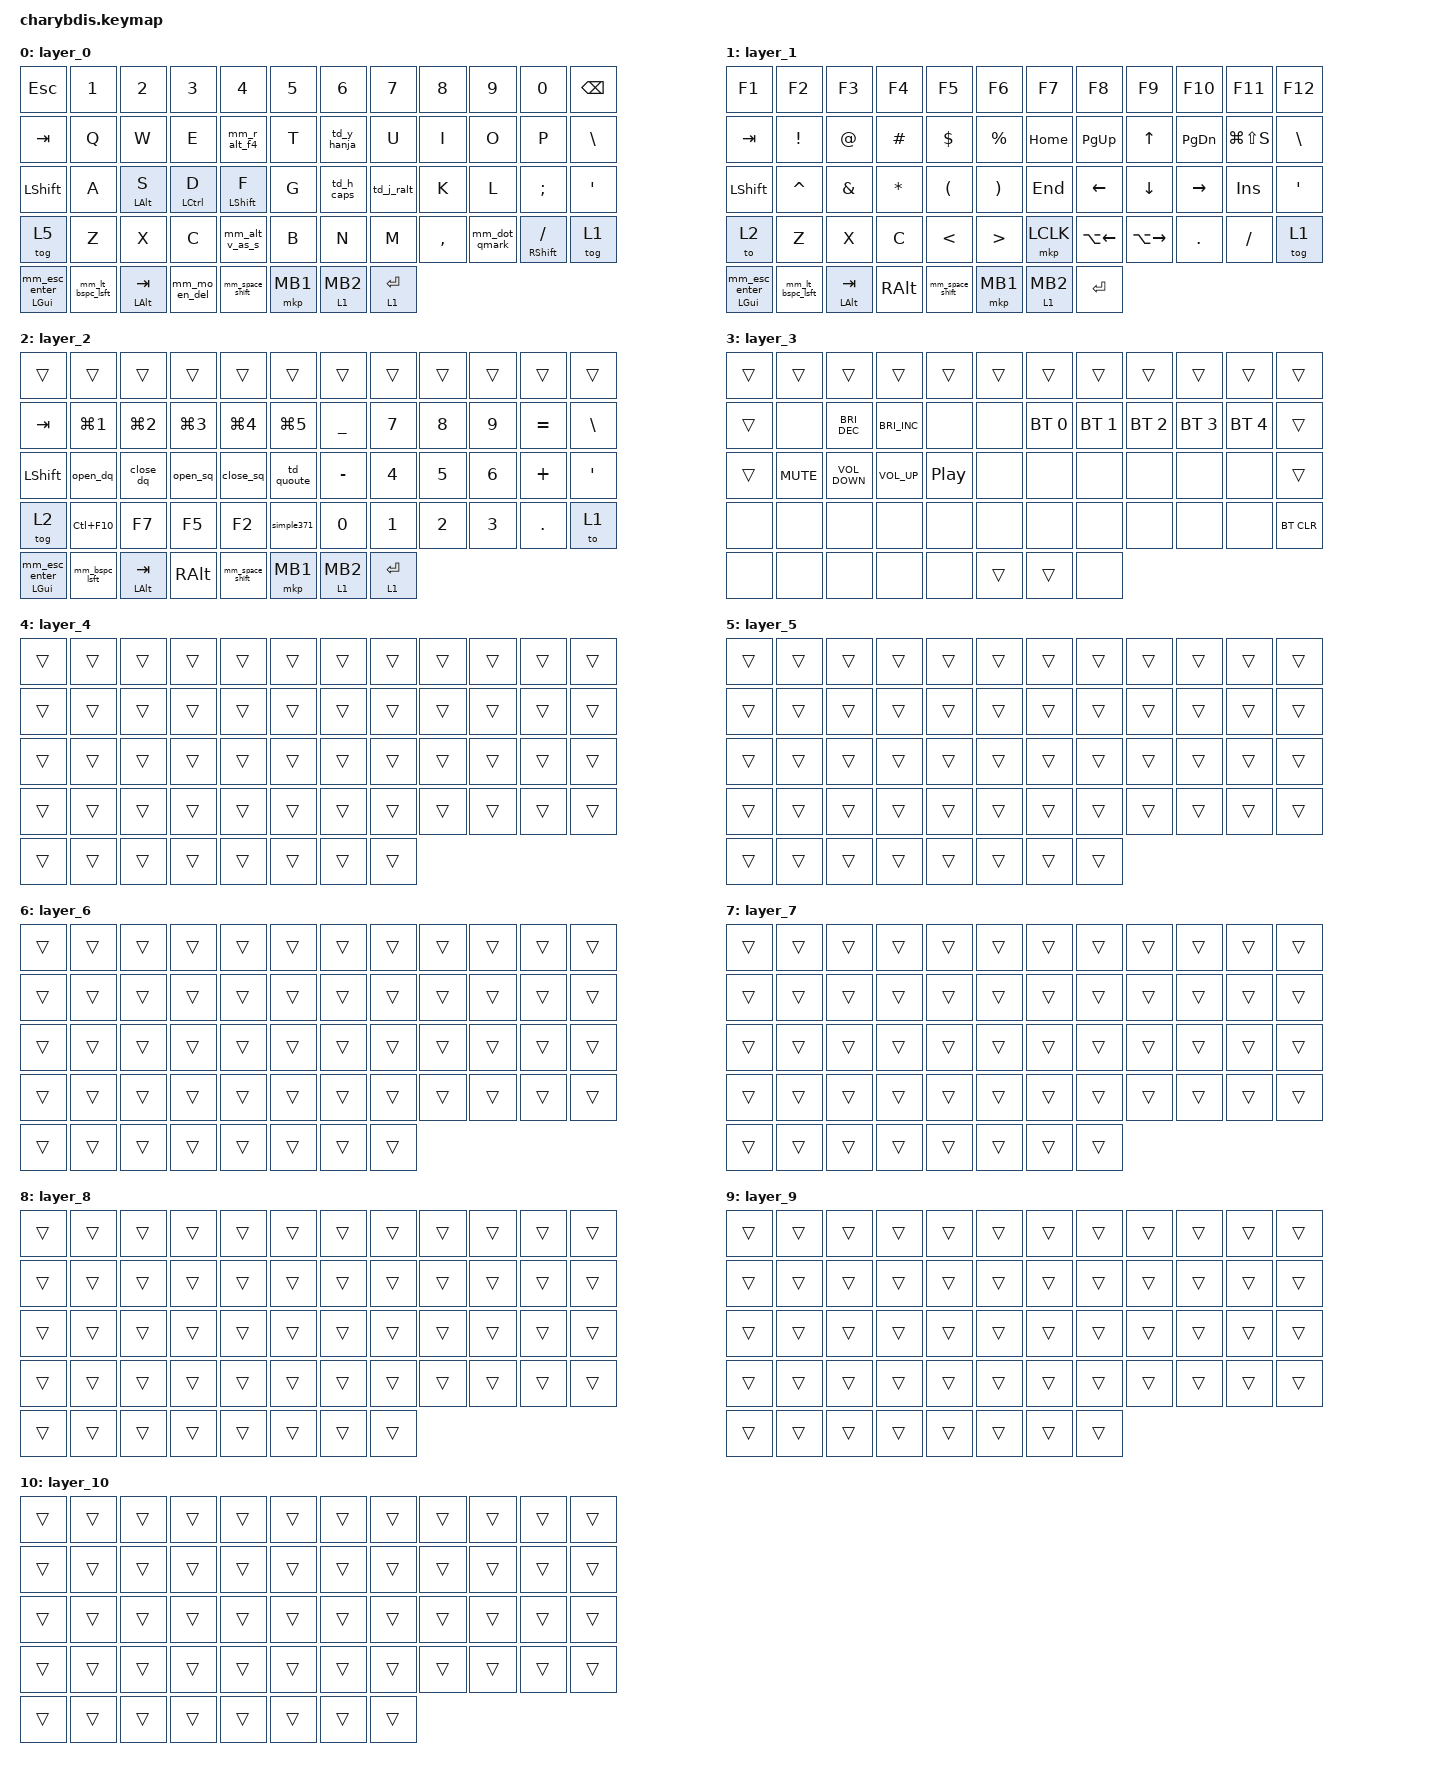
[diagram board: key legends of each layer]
#include <dt-bindings/zmk/mouse.h>
#include <input/processors.dtsi>
#include <zephyr/dt-bindings/input/input-event-codes.h>
#include <behaviors.dtsi>
#include <dt-bindings/zmk/bt.h>
#include <dt-bindings/zmk/keys.h>
#include <dt-bindings/zmk/pointing.h>
#include <dt-bindings/zmk/rgb.h>

#define ZMK_POINTING_DEFAULT_MOVE_VAL 1000 // 600
#define ZMK_POINTING_DEFAULT_SCRL_VAL 12   // 10

&lt {
    tapping-term-ms = <200>;
    flavor = "balanced";
    quick-tap-ms = <150>;
};

&mmv_input_listener { input-processors = <&zip_xy_scaler 2 1>; };

&msc_input_listener { input-processors = <&zip_scroll_scaler 2 1>; };

&msc {
    acceleration-exponent = <0>;      // 0
    time-to-max-speed-ms = <100>;       // 300
    delay-ms = <0>;                   // 0
};

&mmv {
    time-to-max-speed-ms = <500>;
    acceleration-exponent = <1>;
    trigger-period-ms = <16>;
};

/ {
    // 上下滚动编码器行为

    scroll_vertical_encoder: scroll_vertical_encoder {
        compatible = "zmk,behavior-sensor-rotate";
        #sensor-binding-cells = <0>;
        bindings = <&msc SCRL_DOWN>, <&msc SCRL_UP>;

        tap-ms = <100>;
    };

    // 左右滚动编码器行为

    scroll_horizontal_encoder: scroll_horizontal_encoder {
        compatible = "zmk,behavior-sensor-rotate";
        #sensor-binding-cells = <0>;
        bindings = <&msc SCRL_LEFT>, <&msc SCRL_RIGHT>;

        tap-ms = <100>;
    };

    behaviors {
    };

    macros {
        simple371: simple371 {
            compatible = "zmk,behavior-macro";
            #binding-cells = <0>;
            bindings = <&kp S &kp I &kp M &kp P &kp L &kp E &kp N3 &kp N7 &kp N1>;
        };

        open_dq: open_dq {
            compatible = "zmk,behavior-macro";
            #binding-cells = <0>;
            wait-ms = <20>;
            tap-ms = <20>;
            bindings =
                <&macro_tap>, <&kp KP_NUM>,
                <&macro_press>, <&kp LALT>,
                <&macro_tap>, <&kp KP_N0 &kp KP_N1 &kp KP_N4 &kp KP_N7>,
                <&macro_release>, <&kp LALT>,
                <&macro_tap>, <&kp KP_NUM>;
        };

        close_dq: close_dq {
            compatible = "zmk,behavior-macro";
            #binding-cells = <0>;
            wait-ms = <20>;
            tap-ms = <20>;
            bindings =
                <&macro_tap>, <&kp KP_NUM>,
                <&macro_press>, <&kp LALT>,
                <&macro_tap>, <&kp KP_N0 &kp KP_N1 &kp KP_N4 &kp KP_N8>,
                <&macro_release>, <&kp LALT>,
                <&macro_tap>, <&kp KP_NUM>;
        };

        open_sq: open_sq {
            compatible = "zmk,behavior-macro";
            #binding-cells = <0>;
            wait-ms = <20>;
            tap-ms = <20>;
            bindings =
                <&macro_tap>, <&kp KP_NUM>,
                <&macro_press>, <&kp LALT>,
                <&macro_tap>, <&kp KP_N0 &kp KP_N1 &kp KP_N4 &kp KP_N5>,
                <&macro_release>, <&kp LALT>,
                <&macro_tap>, <&kp KP_NUM>;
        };

        close_sq: close_sq {
            compatible = "zmk,behavior-macro";
            #binding-cells = <0>;
            wait-ms = <20>;
            tap-ms = <20>;
            bindings =
                <&macro_tap>, <&kp KP_NUM>,
                <&macro_press>, <&kp LALT>,
                <&macro_tap>, <&kp KP_N0 &kp KP_N1 &kp KP_N4 &kp KP_N6>,
                <&macro_release &kp LALT>,
                <&macro_tap &kp KP_NUM>;
        };

        mo_en: mo_en {
            compatible = "zmk,behavior-macro";
            #binding-cells = <0>;
            bindings
                = <&macro_tap &kp RALT>
                , <&macro_pause_for_release>
                , <&macro_tap &kp RALT>;
        };
    };

    behaviors {
        hm: homerow_mods {
            compatible = "zmk,behavior-hold-tap";
            #binding-cells = <2>;
            tapping-term-ms = <185>;
            quick-tap-ms = <0>;
            flavor = "tap-preferred";
            require-prior-idle-ms = <185>;
            bindings = <&kp>, <&kp>;
        };

        hs: homerow_shift {
            compatible = "zmk,behavior-hold-tap";
            #binding-cells = <2>;
            tapping-term-ms = <170>;
            quick-tap-ms = <80>;
            flavor = "hold-preferred";
            require-prior-idle-ms = <0>;
            bindings = <&kp>, <&kp>;
        };

        mm_space_ralt: mod_morph_space_ralt {
            compatible = "zmk,behavior-mod-morph";
            #binding-cells = <0>;
            bindings = <&kp SPACE>, <&kp DEL>;
            mods = <(MOD_RSFT)>;
        };

        mm_r_alt_f4: mod_morph_r_alt_f4 {
            compatible = "zmk,behavior-mod-morph";
            #binding-cells = <0>;
            bindings = <&kp R>, <&kp LA(F4)>;
            mods = <(MOD_LALT)>;
        };

        mm_dot_qmark: mod_morph_dot_qmark {
            compatible = "zmk,behavior-mod-morph";
            #binding-cells = <0>;
            bindings = <&kp DOT>, <&kp FSLH>;
            mods = <(MOD_RSFT)>;
            keep-mods = <(MOD_RSFT)>;
        };

        mm_esc_enter: mod_morph_esc_enter {
            compatible = "zmk,behavior-mod-morph";
            #binding-cells = <0>;
            bindings = <&kp ESC>, <&kp ENTER>;
            mods = <(MOD_LSFT)>;
        };

        mt_lgui_esc: mt_lgui_esc {
            compatible = "zmk,behavior-hold-tap";
            #binding-cells = <2>;
            tapping-term-ms = <200>;
            quick-tap-ms = <0>;
            flavor = "tap-preferred";
            bindings = <&kp>, <&mm_esc_enter>;
        };

        mm_bspc_lsft: mod_morph_bspc_lsft {
            compatible = "zmk,behavior-mod-morph";
            #binding-cells = <0>;
            bindings = <&kp BSPC>, <&kp BSPC>;
            mods = <(MOD_LSFT)>;
        };

        mm_enter_alttab: mod_morph_enter_alttab {
            compatible = "zmk,behavior-mod-morph";
            #binding-cells = <0>;
            bindings = <&mm_bspc_lsft>, <&kp TAB>;
            mods = <(MOD_LALT|MOD_RALT)>;
            keep-mods = <(MOD_LALT|MOD_RALT)>;
        };

        lt_mm: lt_mod_morph {
            compatible = "zmk,behavior-hold-tap";
            #binding-cells = <2>;
            tapping-term-ms = <170>;
            quick-tap-ms = <0>;
            flavor = "tap-preferred";
            bindings = <&mo>, <&mm_enter_alttab>;
        };

        td_h_caps: tap_dance_h_caps {
            compatible = "zmk,behavior-tap-dance";
            #binding-cells = <0>;
            tapping-term-ms = <210>;
            bindings = <&kp H>, <&kp CAPS>;
        };

        td_j_ralt: tap_dance_j_ralt {
            compatible = "zmk,behavior-tap-dance";
            #binding-cells = <0>;
            tapping-term-ms = <210>;
            bindings = <&kp J>, <&kp RALT>;
        };


        td_y_hanja: td_y_hanja {
            compatible = "zmk,behavior-tap-dance";
            #binding-cells = <0>;
            tapping-term-ms = <210>;
            bindings = <&kp Y>, <&kp LANG_HANJA>;
        };



        td_quoute: td_quoute {
            compatible = "zmk,behavior-tap-dance";
            #binding-cells = <0>;
            tapping-term-ms = <210>;
            bindings = <&kp SINGLE_QUOTE>, <&kp DOUBLE_QUOTES>;
        };

        mm_space_shift: mod_morph_space_shift {
            compatible = "zmk,behavior-mod-morph";
            #binding-cells = <0>;
            bindings = <&mm_space_ralt>, <&kp DEL>;
            mods = <(MOD_RSFT)>;
        };

        hold_mo_en: hold_mo_en {
            compatible = "zmk,behavior-hold-tap";
            #binding-cells = <2>;
            flavor = "hold-preferred";
            hold-while-undecided;
            tapping-term-ms = <0>;
            bindings = <&mo_en>, <&none>;
        };

        mm_mo_en_del: mod_morph_mo_en_del {
            compatible = "zmk,behavior-mod-morph";
            #binding-cells = <0>;
            bindings = <&hold_mo_en 0 0>, <&kp DEL>;
            mods = <(MOD_RSFT)>;
        };

        mm_lt_bspc_lsft: mm_lt_bspc_lsft {
            compatible = "zmk,behavior-mod-morph";
            #binding-cells = <0>;
            bindings = <&lt_mm 2 0>, <&mm_bspc_lsft>;
            mods = <(MOD_LSFT)>;
        };

        mm_alt_v_as_s: mm_alt_v_as_s {
            compatible = "zmk,behavior-mod-morph";
            #binding-cells = <0>;
            bindings = <&kp V>, <&kp S>;
            mods = <(MOD_LALT)>;
            keep-mods = <(MOD_LALT)>;
        };

        lth_kp: layer_tap_hold_kp {
            compatible = "zmk,behavior-hold-tap";
            #binding-cells = <2>;
            flavor = "hold-preferred";
            hold-while-undecided;
            tapping-term-ms = <200>;
            bindings = <&mo>, <&kp>;
        };

        tbl_lth: trackball_layer_tap_hold {
            compatible = "zmk,behavior-hold-tap";
            #binding-cells = <2>;
            flavor = "hold-preferred";
            hold-while-undecided;
            tapping-term-ms = <160>;
            bindings = <&mo>, <&mkp>;
        };

        thumb_rclk_scroll: thumb_rclk_scroll {
            compatible = "zmk,behavior-hold-tap";
            #binding-cells = <2>;
            flavor = "hold-preferred";
            hold-while-undecided;
            tapping-term-ms = <160>;
            bindings = <&mo>, <&mkp>;
        };

        tbl_rclk: tbl_rclk {
            compatible = "zmk,behavior-tap-dance";
            #binding-cells = <0>;
            tapping-term-ms = <250>;
            bindings = <&mkp RCLK>, <&tog 7>;
        };
    };

    combos {
        compatible = "zmk,combos";

        combo_uo_haneng {
            timeout-ms = <75>;
            key-positions = <19 21>;
            bindings = <&kp RALT>;
        };

        combo_mcomma_excl {
            timeout-ms = <75>;
            key-positions = <43 44>;
            bindings = <&kp EXCL>;
        };

        combo_commadot_qmark {
            timeout-ms = <75>;
            key-positions = <44 45>;
            bindings = <&kp QMARK>;
        };

        combo_cv_paste {
            timeout-ms = <75>;
            key-positions = <39 40>;
            bindings = <&kp LC(V)>;
        };

        combo_xc_copy {
            timeout-ms = <75>;
            key-positions = <38 39>;
            bindings = <&kp LC(C)>;
        };

        combo_zx_cut {
            timeout-ms = <100>;
            key-positions = <37 38>;
            bindings = <&kp LC(X)>;
        };

        combo_xv_enter {
            timeout-ms = <75>;
            key-positions = <38 40>;
            bindings = <&kp ENTER>;
        };

        combo_nm_tilde {
            timeout-ms = <75>;
            key-positions = <42 43>;
            bindings = <&kp TILDE>;
        };

        combo_mdot_del {
            timeout-ms = <75>;
            key-positions = <43 45>;
            bindings = <&kp DEL>;
        };

        combo_wr_ralt {
            timeout-ms = <75>;
            key-positions = <14 16>;
            bindings = <&kp RALT>;
        };

        combo_we_back {
            timeout-ms = <75>;
            key-positions = <14 15>;
            bindings = <&kp LA(LEFT)>;
        };

        combo_er_forward {
            timeout-ms = <75>;
            key-positions = <15 16>;
            bindings = <&kp LA(RIGHT)>;
        };

    };

    keymap {
        compatible = "zmk,keymap";

        layer_0 {
            bindings = <
&kp ESC &kp N1 &kp N2 &kp N3 &kp N4 &kp N5 &kp N6 &kp N7 &kp N8 &kp N9 &kp N0 &kp BACKSPACE
&kp TAB &kp Q &kp W &kp E &mm_r_alt_f4 &kp T &td_y_hanja &kp U &kp I &kp O &kp P &kp BSLH
&kp LEFT_SHIFT &kp A &hm LALT S &hm LCTRL D &hm LSHIFT F &kp G &td_h_caps &td_j_ralt &kp K &kp L &kp SEMI &kp SQT
&tog 5 &kp Z &kp X &kp C &mm_alt_v_as_s &kp B &kp N &kp M &kp COMMA &mm_dot_qmark &hs RSHIFT FSLH &tog 1
&mt_lgui_esc LGUI 0 &mm_lt_bspc_lsft &mt LALT TAB &mm_mo_en_del &mm_space_shift &mkp MB1 &thumb_rclk_scroll 1 MB2 &lt 1 ENTER
            >;
        };

        layer_1 {
            bindings = <
&kp F1 &kp F2 &kp F3 &kp F4 &kp F5 &kp F6 &kp F7 &kp F8 &kp F9 &kp F10 &kp F11 &kp F12
&kp TAB &kp EXCL &kp AT &kp HASH &kp DLLR &kp PRCNT &kp HOME &kp PG_UP &kp UP &kp PG_DN &kp LG(LS(S)) &kp BSLH
&kp LEFT_SHIFT &kp CARET &kp AMPS &kp STAR &kp LPAR &kp RPAR &kp END &kp LEFT &kp DOWN &kp RIGHT &kp INS &kp SQT
&to 2 &kp Z &kp X &kp C &kp LESS_THAN &kp GREATER_THAN &mkp LCLK &kp LA(LEFT) &kp LA(RIGHT) &kp DOT &kp FSLH &tog 1
&mt_lgui_esc LGUI 0 &mm_lt_bspc_lsft &mt LALT TAB &kp RALT &mm_space_shift &mkp MB1 &thumb_rclk_scroll 1 MB2 &kp ENTER
            >;
        };

        layer_2 {
            bindings = <
&trans &trans &trans &trans &trans &trans &trans &trans &trans &trans &trans &trans
&kp TAB &kp LG(N1) &kp LG(N2) &kp LG(N3) &kp LG(N4) &kp LG(N5) &kp UNDER &kp N7 &kp N8 &kp N9 &kp EQUAL &kp BSLH
&kp LEFT_SHIFT &open_dq &close_dq &open_sq &close_sq &td_quoute &kp MINUS &kp N4 &kp N5 &kp N6 &kp PLUS &kp SQT
&tog 2 &kp LC(F10) &kp F7 &kp F5 &kp F2 &simple371 &kp N0 &kp N1 &kp N2 &kp N3 &kp DOT &to 1
&mt_lgui_esc LGUI 0 &mm_bspc_lsft &mt LALT TAB &kp RALT &mm_space_shift &mkp MB1 &thumb_rclk_scroll 1 MB2 &lt 1 ENTER
            >;
        };

        layer_3 {
            bindings = <
&trans &trans &trans &trans &trans &trans &trans &trans &trans &trans &trans &trans
&trans &none &kp C_BRIGHTNESS_DEC &kp C_BRIGHTNESS_INC &none &none &bt BT_SEL 0 &bt BT_SEL 1 &bt BT_SEL 2 &bt BT_SEL 3 &bt BT_SEL 4 &trans
&trans &kp K_MUTE &kp C_VOLUME_DOWN &kp C_VOLUME_UP &kp C_PLAY_PAUSE &none &none &none &none &none &none &trans
&none &none &none &none &none &none &none &none &none &none &none &bt BT_CLR
&none &none &none &none &none &trans &trans &none
            >;
        };

        layer_4 {
            bindings = <
&trans &trans &trans &trans &trans &trans &trans &trans &trans &trans &trans &trans
&trans &trans &trans &trans &trans &trans &trans &trans &trans &trans &trans &trans
&trans &trans &trans &trans &trans &trans &trans &trans &trans &trans &trans &trans
&trans &trans &trans &trans &trans &trans &trans &trans &trans &trans &trans &trans
&trans &trans &trans &trans &trans &trans &trans &trans
            >;
        };

        layer_5 {
            bindings = <
&trans &trans &trans &trans &trans &trans &trans &trans &trans &trans &trans &trans
&trans &trans &trans &trans &trans &trans &trans &trans &trans &trans &trans &trans
&trans &trans &trans &trans &trans &trans &trans &trans &trans &trans &trans &trans
&trans &trans &trans &trans &trans &trans &trans &trans &trans &trans &trans &trans
&trans &trans &trans &trans &trans &trans &trans &trans
            >;
        };

        layer_6 {
            bindings = <
&trans &trans &trans &trans &trans &trans &trans &trans &trans &trans &trans &trans
&trans &trans &trans &trans &trans &trans &trans &trans &trans &trans &trans &trans
&trans &trans &trans &trans &trans &trans &trans &trans &trans &trans &trans &trans
&trans &trans &trans &trans &trans &trans &trans &trans &trans &trans &trans &trans
&trans &trans &trans &trans &trans &trans &trans &trans
            >;
        };

        layer_7 {
            bindings = <
&trans &trans &trans &trans &trans &trans &trans &trans &trans &trans &trans &trans
&trans &trans &trans &trans &trans &trans &trans &trans &trans &trans &trans &trans
&trans &trans &trans &trans &trans &trans &trans &trans &trans &trans &trans &trans
&trans &trans &trans &trans &trans &trans &trans &trans &trans &trans &trans &trans
&trans &trans &trans &trans &trans &trans &trans &trans
            >;
        };

        layer_8 {
            bindings = <
&trans &trans &trans &trans &trans &trans &trans &trans &trans &trans &trans &trans
&trans &trans &trans &trans &trans &trans &trans &trans &trans &trans &trans &trans
&trans &trans &trans &trans &trans &trans &trans &trans &trans &trans &trans &trans
&trans &trans &trans &trans &trans &trans &trans &trans &trans &trans &trans &trans
&trans &trans &trans &trans &trans &trans &trans &trans
            >;
        };

        layer_9 {
            bindings = <
&trans &trans &trans &trans &trans &trans &trans &trans &trans &trans &trans &trans
&trans &trans &trans &trans &trans &trans &trans &trans &trans &trans &trans &trans
&trans &trans &trans &trans &trans &trans &trans &trans &trans &trans &trans &trans
&trans &trans &trans &trans &trans &trans &trans &trans &trans &trans &trans &trans
&trans &trans &trans &trans &trans &trans &trans &trans
            >;
        };

        layer_10 {
            bindings = <
&trans  &trans  &trans  &trans  &trans  &trans    &trans  &trans  &trans  &trans  &trans  &trans
&trans  &trans  &trans  &trans  &trans  &trans    &trans  &trans  &trans  &trans  &trans  &trans
&trans  &trans  &trans  &trans  &trans  &trans    &trans  &trans  &trans  &trans  &trans  &trans
&trans  &trans  &trans  &trans  &trans  &trans    &trans  &trans  &trans  &trans  &trans  &trans
                        &trans  &trans  &trans    &trans  &trans
                                &trans  &trans    &trans
            >;
        };

        /* layer_2 {
            bindings = <
&none  &none   &none    &none   &none         &none         &kp N1         &none         &none     &none  &none   &to 0
&none  &none   &none    &none   &none         &none         &none         &none          &rgb_ug RGB_BRD &rgb_ug RGB_BRI  &rgb_ug RGB_EFF   &rgb_ug RGB_TOG
&none  &none   &none    &none   &none         &none         &none         &mkp LCLK     &mkp RCLK  &none  &none   &none
&none  &none   &none    &none   &bt BT_NXT  &bt BT_CLR    &none         &none         &none     &none  &none   &none
                                   &none         &none         &none         &none         &none
                                                 &none         &none         &none
            >;
       
            
        };

       Mouse {
            bindings = <
&none        &none         &none         &none         &none      &none         &none       &none      &none         &none         &none         &none
&none        &bt BT_SEL 0  &bt BT_SEL 1  &bt BT_SEL 3  &none      &bt BT_CLR    &bt BT_CLR  &none      &bt BT_SEL 2  &bt BT_SEL 1  &bt BT_SEL 0  &none
&none        &trans        &trans        &mkp MCLK     &trans     &none         &none       &trans     &mkp MCLK     &trans        &trans        &none
&bootloader  &trans        &mkp RCLK     &mo 4         &mkp LCLK  &mo 5         &mo 5       &mkp LCLK  &mo 4         &mkp RCLK     &trans        &bootloader
                                         &mo 5         &mkp LCLK  &mkp RCLK     &mkp RCLK   &mkp LCLK
                                                       &none      &trans        &trans
            >;

            
        };

        layer_4 {
            bindings = <
&trans  &trans  &trans     &trans     &trans     &trans       &trans     &trans     &trans     &trans     &trans  &trans
&trans  &trans  &trans     &trans     &trans     &trans       &trans     &trans     &trans     &trans     &trans  &trans
&trans  &trans  &trans     &mkp MCLK  &trans     &trans       &trans     &trans     &mkp MCLK  &trans     &trans  &trans
&trans  &trans  &mkp RCLK  &trans     &mkp LCLK  &trans       &trans     &mkp LCLK  &trans     &mkp RCLK  &trans  &trans
                           &trans     &mkp LCLK  &mkp RCLK    &mkp RCLK  &mkp LCLK
                                      &trans     &trans       &trans
            >;
                
                
               
        };

        layer_5 {
            bindings = <
&trans  &trans  &trans     &trans     &trans     &trans       &trans     &trans     &trans     &trans     &trans  &trans
&trans  &trans  &trans     &trans     &trans     &trans       &trans     &trans     &trans     &trans     &trans  &trans
&trans  &trans  &trans     &mkp MCLK  &trans     &trans       &trans     &trans     &mkp MCLK  &trans     &trans  &trans
&trans  &trans  &mkp RCLK  &trans     &mkp LCLK  &trans       &trans     &mkp LCLK  &trans     &mkp RCLK  &trans  &trans
                           &trans     &mkp LCLK  &mkp RCLK    &mkp RCLK  &mkp LCLK
                                      &trans     &trans       &trans
            >;
                
                
        };*/
    };
};
